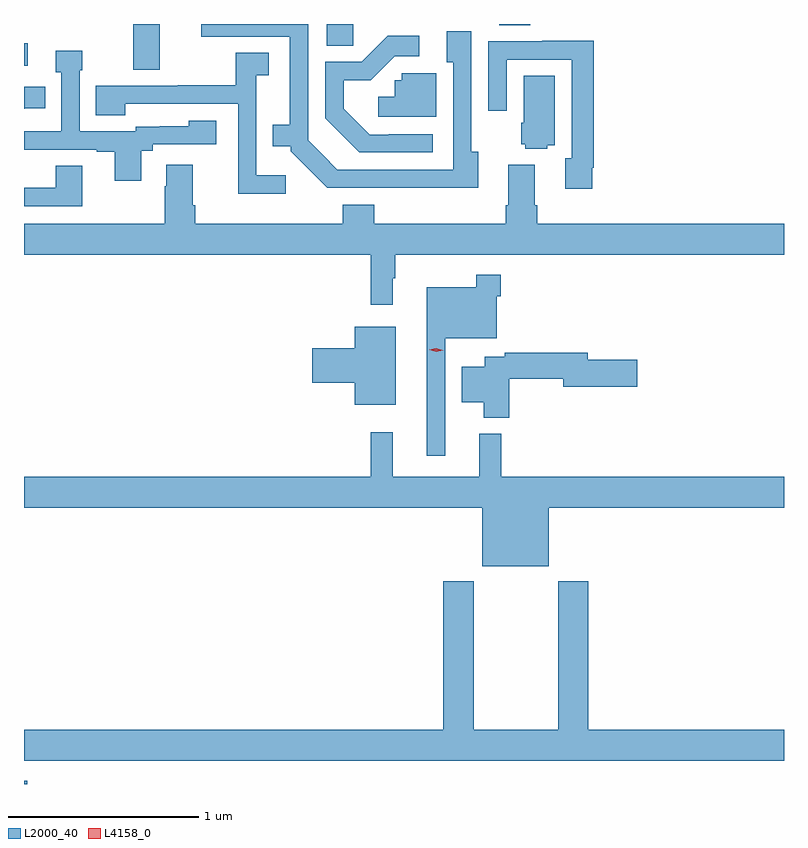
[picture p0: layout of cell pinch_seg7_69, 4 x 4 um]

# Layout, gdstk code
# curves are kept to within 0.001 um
import gdstk
lib = gdstk.Library(unit=1e-6, precision=1e-09)
def R(c, l, rs):  # rectangles x0, y0, x1, y1
    for r in rs: c.add(gdstk.rectangle(r[:2], r[2:], *l))
def P(c, l, *ps):  # polygons
    for p in ps: c.add(gdstk.Polygon(p, *l))
L2000_40 = (2000, 40)
L4158_0 = (4158, 0)

pinch_seg7_69 = lib.new_cell('pinch_seg7_69')
R(pinch_seg7_69, L2000_40, [(959.263,1063.098,959.279,1063.114), (959.837,1066.858,959.977,1067.098), (959.263,1066.878,959.284,1066.996), (960.857,1066.984,960.996,1067.098), (961.763,1067.092,961.928,1067.098)])
P(pinch_seg7_69, L2000_40, [(961.654,1066.426),(961.617,1066.426),(961.617,1067.059),(961.487,1067.059),(961.487,1066.898),(961.521,1066.898),(961.521,1066.332),(960.912,1066.332),(960.759,1066.486),(960.759,1067.098),(960.195,1067.098),(960.195,1067.031),(960.662,1067.031),(960.662,1066.569),(960.571,1066.569),(960.571,1066.454),(960.666,1066.454),(960.666,1066.428),(960.858,1066.236),(961.654,1066.235)],
  [(961.414,1066.518),(961.183,1066.518),(961.183,1066.515),(961.083,1066.515),(960.946,1066.652),(960.946,1066.802),(961.088,1066.802),(961.215,1066.929),(961.342,1066.929),(961.342,1067.035),(961.177,1067.035),(961.041,1066.899),(960.849,1066.899),(960.849,1066.601),(961.028,1066.422),(961.414,1066.422)],
  [(962.254,1066.342),(962.261,1066.342),(962.261,1067.011),(961.991,1067.011),(961.991,1067.007),(961.707,1067.007),(961.707,1066.641),(961.803,1066.641),(961.803,1066.911),(962.145,1066.911),(962.145,1066.391),(962.111,1066.391),(962.111,1066.23),(962.254,1066.23)],
  [(959.881,1066.43),(959.94,1066.43),(959.94,1066.464),(960.274,1066.464),(960.274,1066.588),(960.129,1066.588),(960.129,1066.56),(959.977,1066.56),(959.977,1066.558),(959.85,1066.558),(959.85,1066.533),(959.556,1066.533),(959.556,1066.854),(959.569,1066.854),(959.569,1066.958),(959.429,1066.958),(959.429,1066.845),(959.46,1066.845),(959.46,1066.533),(959.263,1066.533),(959.263,1066.437),(959.645,1066.437),(959.645,1066.425),(959.741,1066.425),(959.741,1066.272),(959.881,1066.272)],
  [(960.64,1066.303),(960.486,1066.303),(960.486,1066.828),(960.55,1066.828),(960.55,1066.946),(960.378,1066.946),(960.378,1066.776),(960.073,1066.776),(960.073,1066.773),(959.641,1066.773),(959.641,1066.618),(959.795,1066.618),(959.795,1066.677),(960.39,1066.677),(960.39,1066.205),(960.64,1066.205)],
  [(961.432,1066.839),(961.251,1066.839),(961.251,1066.803),(961.215,1066.803),(961.215,1066.714),(961.128,1066.714),(961.128,1066.611),(961.432,1066.611)],
  [(962.016,1066.46),(962.056,1066.46),(962.056,1066.826),(961.892,1066.826),(961.892,1066.578),(961.88,1066.578),(961.88,1066.464),(961.902,1066.464),(961.902,1066.442),(962.016,1066.442)],
  [(959.267,1066.655),(959.375,1066.655),(959.375,1066.768),(959.263,1066.768),(959.263,1066.653),(959.267,1066.653)],
  [(961.204,1065.761),(961.216,1065.761),(961.216,1065.884),(963.263,1065.884),(963.263,1066.048),(961.964,1066.048),(961.964,1066.144),(961.951,1066.144),(961.951,1066.357),(961.811,1066.357),(961.811,1066.144),(961.799,1066.144),(961.799,1066.048),(961.106,1066.048),(961.106,1066.147),(960.941,1066.147),(960.941,1066.048),(960.164,1066.048),(960.164,1066.144),(960.151,1066.144),(960.151,1066.357),(960.011,1066.357),(960.011,1066.244),(960.004,1066.244),(960.004,1066.048),(959.263,1066.048),(959.263,1065.884),(961.087,1065.884),(961.087,1065.621),(961.204,1065.621)],
  [(959.569,1066.352),(959.429,1066.352),(959.429,1066.236),(959.263,1066.236),(959.263,1066.14),(959.569,1066.14)],
  [(961.479,1065.443),(961.752,1065.443),(961.752,1065.665),(961.772,1065.665),(961.772,1065.778),(961.644,1065.778),(961.644,1065.712),(961.382,1065.712),(961.382,1064.826),(961.479,1064.826)],
  [(961.219,1065.505),(961.004,1065.505),(961.004,1065.392),(960.78,1065.392),(960.78,1065.209),(961.004,1065.209),(961.004,1065.095),(961.219,1065.095)],
  [(961.817,1065.232),(962.102,1065.232),(962.102,1065.19),(962.491,1065.19),(962.491,1065.332),(962.23,1065.332),(962.23,1065.368),(961.792,1065.368),(961.792,1065.348),(961.688,1065.348),(961.688,1065.295),(961.568,1065.295),(961.568,1065.107),(961.682,1065.107),(961.682,1065.026),(961.817,1065.026)],
  [(962.026,1064.552),(963.263,1064.552),(963.263,1064.716),(961.775,1064.716),(961.775,1064.941),(961.658,1064.941),(961.658,1064.716),(961.205,1064.716),(961.205,1064.95),(961.087,1064.95),(961.087,1064.716),(959.263,1064.716),(959.263,1064.552),(961.676,1064.552),(961.676,1064.243),(962.026,1064.243)],
  [(963.263,1063.384),(962.234,1063.384),(962.234,1064.164),(962.074,1064.164),(962.074,1063.384),(961.629,1063.384),(961.629,1064.164),(961.469,1064.164),(961.469,1063.384),(959.263,1063.384),(959.263,1063.22),(963.263,1063.22)])
P(pinch_seg7_69, L4158_0, [(961.432,1065.372),(961.397,1065.383),(961.397,1065.384),(961.397,1065.384),(961.433,1065.392),(961.468,1065.381),(961.469,1065.38),(961.468,1065.38)])

lib.write_gds('pinch_seg7_69.gds')
